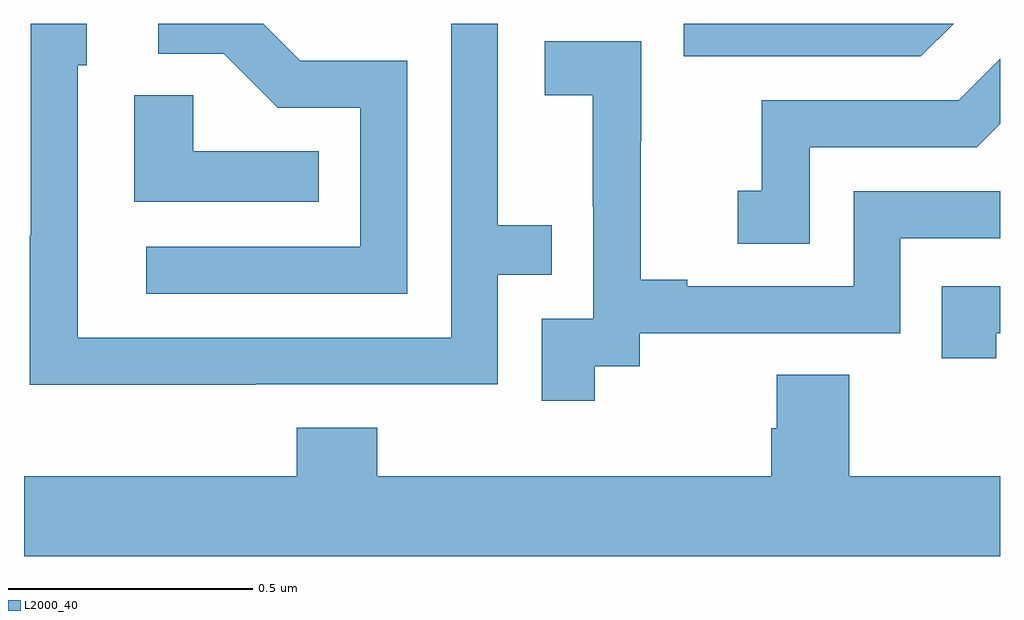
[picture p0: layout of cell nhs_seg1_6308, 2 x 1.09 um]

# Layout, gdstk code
import gdstk
lib = gdstk.Library(unit=1e-6, precision=1e-09)
def P(c, l, *ps):  # polygons
    for p in ps: c.add(gdstk.Polygon(p, *l))
L2000_40 = (2000, 40)

nhs_seg1_6308 = lib.new_cell('nhs_seg1_6308')
P(nhs_seg1_6308, L2000_40, [(190.475,509.46),(190.971,509.46),(190.971,509.685),(191.081,509.685),(191.081,509.786),(190.971,509.786),(190.971,510.199),(190.875,510.199),(190.875,509.556),(190.11,509.556),(190.11,510.114),(190.129,510.114),(190.129,510.199),(190.014,510.199),(190.014,509.765),(190.012,509.765),(190.012,509.459),(190.475,509.459)],
  [(191.905,510.199),(191.352,510.199),(191.352,510.132),(191.838,510.132)],
  [(190.785,510.123),(190.566,510.123),(190.49,510.199),(190.275,510.199),(190.275,510.138),(190.409,510.138),(190.52,510.027),(190.689,510.027),(190.689,509.742),(190.251,509.742),(190.251,509.646),(190.785,509.646)],
  [(191.17,509.497),(191.262,509.497),(191.262,509.565),(191.796,509.565),(191.796,509.76),(192,509.76),(192,509.856),(191.7,509.856),(191.7,509.661),(191.359,509.661),(191.359,509.674),(191.264,509.674),(191.264,509.957),(191.265,509.957),(191.265,510.163),(191.067,510.163),(191.067,510.053),(191.165,510.053),(191.165,509.825),(191.166,509.825),(191.166,509.595),(191.061,509.595),(191.061,509.427),(191.17,509.427)],
  [(191.61,509.946),(191.952,509.946),(192,509.994),(192,510.127),(191.915,510.042),(191.512,510.042),(191.512,509.857),(191.463,509.857),(191.463,509.748),(191.61,509.748)],
  [(190.604,509.938),(190.347,509.938),(190.347,510.053),(190.226,510.053),(190.226,509.834),(190.604,509.834)],
  [(191.992,509.565),(192,509.565),(192,509.661),(191.881,509.661),(191.881,509.514),(191.992,509.514)],
  [(192,509.272),(191.691,509.272),(191.691,509.48),(191.543,509.48),(191.543,509.37),(191.531,509.37),(191.531,509.272),(190.724,509.272),(190.724,509.371),(190.559,509.371),(190.559,509.272),(190,509.272),(190,509.108),(192,509.108)])

lib.write_gds('nhs_seg1_6308.gds')
